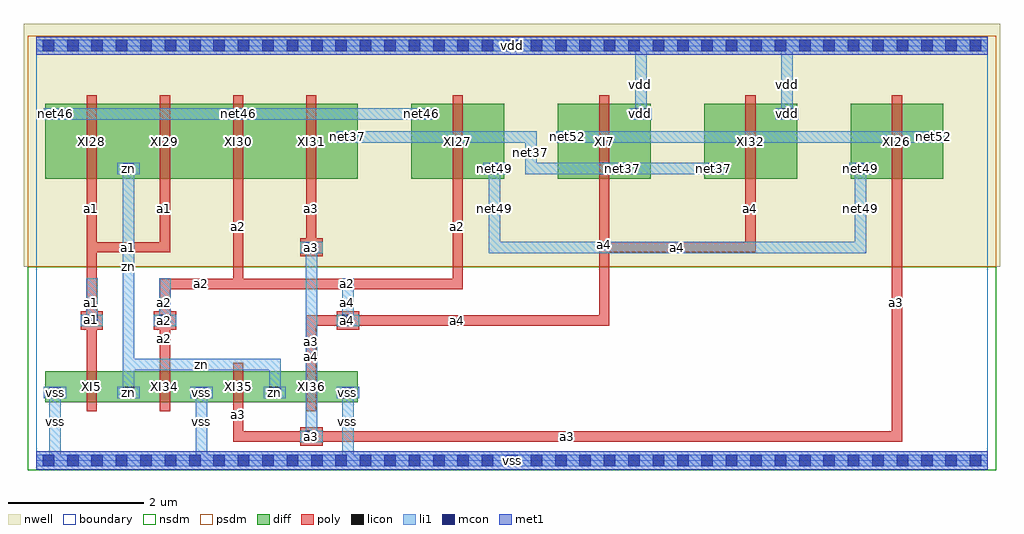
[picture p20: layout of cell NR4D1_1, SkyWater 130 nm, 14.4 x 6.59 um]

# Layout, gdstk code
import gdstk
lib = gdstk.Library(unit=1e-6, precision=1e-09)
def R(c, l, rs):  # rectangles x0, y0, x1, y1
    for r in rs: c.add(gdstk.rectangle(r[:2], r[2:], *l))
def A(c, l, x, y, w, h, nx, ny, dx, dy):  # array of equal rectangles
    R(c, l, [(x+i*dx, y+j*dy, x+i*dx+w, y+j*dy+h) for i in range(nx) for j in range(ny)])
L0_0 = (0, 0)
nwell = (64, 20)
diff = (65, 20)
poly = (66, 20)
licon = (66, 44)
li1 = (67, 20)
mcon = (67, 44)
met1 = (68, 20)
nsdm = (93, 44)
psdm = (94, 20)
boundary = (235, 4)

nr4d1_1 = lib.new_cell('NR4D1_1')
R(nr4d1_1, nwell, [(-0.18,2.86,14.22,6.445)])
A(nr4d1_1, diff, 0.135, 0.86, 1.37, 0.455, 4, 1, 1.08, 0)
A(nr4d1_1, diff, 0.135, 0.86, 0.29, 0.29, 5, 1, 1.08, 0)
A(nr4d1_1, diff, 0.135, 4.16, 1.37, 1.1, 4, 1, 1.08, 0)
A(nr4d1_1, diff, 5.535, 4.16, 1.37, 1.1, 4, 1, 2.16, 0)
R(nr4d1_1, diff, [(1.215,4.16,1.505,4.45), (6.615,4.16,6.905,4.45), (9.855,4.16,10.145,4.45), (12.015,4.16,12.305,4.45), (4.455,4.63,4.745,4.92), (7.695,4.63,7.985,4.92), (13.095,4.63,13.385,4.92), (0.135,4.97,0.425,5.26), (5.535,4.97,5.825,5.26), (8.775,4.97,9.065,5.26), (10.935,4.97,11.225,5.26)])
A(nr4d1_1, poly, 0.745, 0.73, 0.15, 0.715, 4, 1, 1.08, 0)
A(nr4d1_1, poly, 0.745, 4.03, 0.15, 1.36, 4, 1, 1.08, 0)
A(nr4d1_1, poly, 6.145, 4.03, 0.15, 1.36, 4, 1, 2.16, 0)
R(nr4d1_1, poly, [(3.895,0.22,4.225,0.49), (2.905,0.28,3.055,1.08), (2.905,0.28,12.775,0.43), (12.625,0.28,12.775,4.38), (0.745,0.93,0.895,3.22), (1.825,0.93,1.975,2.68), (3.985,0.93,4.135,2.14), (0.655,1.93,0.985,2.2), (1.735,1.93,2.065,2.2), (4.435,1.93,4.765,2.2), (3.985,1.99,8.455,2.14), (8.305,1.99,8.455,4.38), (1.825,2.53,3.055,2.68), (2.905,2.53,3.055,4.38), (2.905,2.53,6.295,2.68), (6.145,2.53,6.295,4.38), (3.895,3.01,4.225,3.28), (0.745,3.07,0.895,4.38), (0.745,3.07,1.975,3.22), (1.825,3.07,1.975,4.38), (3.985,3.07,4.135,4.38), (8.305,3.07,10.615,3.22), (10.465,3.07,10.615,4.38)])
A(nr4d1_1, licon, 0.195, 0.92, 0.17, 0.17, 5, 1, 1.08, 0)
R(nr4d1_1, licon, [(3.975,0.27,4.145,0.44), (0.735,1.98,0.905,2.15), (1.815,1.98,1.985,2.15), (4.515,1.98,4.685,2.15), (3.975,3.06,4.145,3.23), (1.275,4.22,1.445,4.39), (6.675,4.22,6.845,4.39), (9.915,4.22,10.085,4.39), (12.075,4.22,12.245,4.39), (4.515,4.69,4.685,4.86), (7.755,4.69,7.925,4.86), (13.155,4.69,13.325,4.86), (0.195,5.03,0.365,5.2), (5.595,5.03,5.765,5.2), (8.835,5.03,9.005,5.2), (10.995,5.03,11.165,5.2)])
A(nr4d1_1, li1, 0.195, 0.06, 0.17, 1.03, 3, 1, 2.16, 0)
A(nr4d1_1, li1, 0.115, 0.92, 0.33, 0.17, 5, 1, 1.08, 0)
R(nr4d1_1, li1, [(0,-0.085,14.04,0.085), (3.895,0.27,4.225,0.44), (3.975,0.27,4.145,3.23), (1.275,0.92,1.445,1.5), (3.435,0.92,3.605,1.5), (1.275,1.33,3.605,1.5), (1.275,1.33,1.445,4.39), (0.655,1.98,0.985,2.15), (0.735,1.98,0.905,2.69), (1.735,1.98,2.065,2.15), (1.815,1.98,1.985,2.69), (4.435,1.98,4.765,2.15), (4.515,1.98,4.685,2.69), (3.895,3.06,4.225,3.23), (6.675,3.06,6.845,4.39), (6.675,3.06,12.245,3.23), (12.075,3.06,12.245,4.39), (1.195,4.22,1.525,4.39), (6.595,4.22,6.925,4.39), (7.215,4.22,10.085,4.39), (7.215,4.22,7.385,4.86), (9.835,4.22,10.165,4.39), (11.995,4.22,12.325,4.39), (4.435,4.69,4.765,4.86), (4.515,4.69,7.385,4.86), (7.675,4.69,8.005,4.86), (7.755,4.69,13.325,4.86), (13.075,4.69,13.405,4.86), (0.115,5.03,0.445,5.2), (0.195,5.03,5.765,5.2), (5.515,5.03,5.845,5.2), (8.755,5.03,9.085,5.2), (8.835,5.03,9.005,6.06), (10.915,5.03,11.245,5.2), (10.995,5.03,11.165,6.06), (0,6.035,14.04,6.205)])
A(nr4d1_1, mcon, 0.095, -0.085, 0.17, 0.17, 39, 2, 0.36, 6.12)
R(nr4d1_1, met1, [(0,-0.135,14.04,0.135), (0,5.985,14.04,6.255)])
R(nr4d1_1, nsdm, [(-0.125,-0.145,14.165,0.145), (-0.125,0.145,14.165,2.86)])
R(nr4d1_1, psdm, [(-0.125,2.86,14.165,5.975), (-0.125,5.975,14.165,6.265)])
R(nr4d1_1, boundary, [(0,0,14.04,6.12)])
nr4d1_1.add(gdstk.FlexPath([(0.115,0.355),(13.405,0.355)], 0, ends="flush", simple_path=True, layer=0, datatype=0))  # L0_0
nr4d1_1.add(gdstk.FlexPath([(0.115,1.005),(13.405,1.005)], 0, ends="flush", simple_path=True, layer=0, datatype=0))  # L0_0
nr4d1_1.add(gdstk.FlexPath([(0.115,1.415),(13.405,1.415)], 0, ends="flush", simple_path=True, layer=0, datatype=0))  # L0_0
nr4d1_1.add(gdstk.FlexPath([(0.115,2.065),(13.405,2.065)], 0, ends="flush", simple_path=True, layer=0, datatype=0))  # L0_0
nr4d1_1.add(gdstk.FlexPath([(0.115,2.605),(13.405,2.605)], 0, ends="flush", simple_path=True, layer=0, datatype=0))  # L0_0
nr4d1_1.add(gdstk.FlexPath([(0.115,3.145),(13.405,3.145)], 0, ends="flush", simple_path=True, layer=0, datatype=0))  # L0_0
nr4d1_1.add(gdstk.FlexPath([(0.115,4.305),(13.405,4.305)], 0, ends="flush", simple_path=True, layer=0, datatype=0))  # L0_0
nr4d1_1.add(gdstk.FlexPath([(0.115,4.775),(13.405,4.775)], 0, ends="flush", simple_path=True, layer=0, datatype=0))  # L0_0
nr4d1_1.add(gdstk.FlexPath([(0.115,5.115),(13.405,5.115)], 0, ends="flush", simple_path=True, layer=0, datatype=0))  # L0_0
nr4d1_1.add(gdstk.FlexPath([(0.115,5.765),(13.405,5.765)], 0, ends="flush", simple_path=True, layer=0, datatype=0))  # L0_0
nr4d1_1.add(gdstk.FlexPath([(0.28,0.06),(0.28,6.06)], 0, ends="flush", simple_path=True, layer=0, datatype=0))  # L0_0
nr4d1_1.add(gdstk.FlexPath([(0.82,0.06),(0.82,6.06)], 0, ends="flush", simple_path=True, layer=0, datatype=0))  # L0_0
nr4d1_1.add(gdstk.FlexPath([(1.36,0.06),(1.36,6.06)], 0, ends="flush", simple_path=True, layer=0, datatype=0))  # L0_0
nr4d1_1.add(gdstk.FlexPath([(1.9,0.06),(1.9,6.06)], 0, ends="flush", simple_path=True, layer=0, datatype=0))  # L0_0
nr4d1_1.add(gdstk.FlexPath([(2.44,0.06),(2.44,6.06)], 0, ends="flush", simple_path=True, layer=0, datatype=0))  # L0_0
nr4d1_1.add(gdstk.FlexPath([(2.98,0.06),(2.98,6.06)], 0, ends="flush", simple_path=True, layer=0, datatype=0))  # L0_0
nr4d1_1.add(gdstk.FlexPath([(3.52,0.06),(3.52,6.06)], 0, ends="flush", simple_path=True, layer=0, datatype=0))  # L0_0
nr4d1_1.add(gdstk.FlexPath([(4.06,0.06),(4.06,6.06)], 0, ends="flush", simple_path=True, layer=0, datatype=0))  # L0_0
nr4d1_1.add(gdstk.FlexPath([(4.6,0.06),(4.6,6.06)], 0, ends="flush", simple_path=True, layer=0, datatype=0))  # L0_0
nr4d1_1.add(gdstk.FlexPath([(5.14,0.06),(5.14,6.06)], 0, ends="flush", simple_path=True, layer=0, datatype=0))  # L0_0
nr4d1_1.add(gdstk.FlexPath([(5.68,0.06),(5.68,6.06)], 0, ends="flush", simple_path=True, layer=0, datatype=0))  # L0_0
nr4d1_1.add(gdstk.FlexPath([(6.22,0.06),(6.22,6.06)], 0, ends="flush", simple_path=True, layer=0, datatype=0))  # L0_0
nr4d1_1.add(gdstk.FlexPath([(6.76,0.06),(6.76,6.06)], 0, ends="flush", simple_path=True, layer=0, datatype=0))  # L0_0
nr4d1_1.add(gdstk.FlexPath([(7.3,0.06),(7.3,6.06)], 0, ends="flush", simple_path=True, layer=0, datatype=0))  # L0_0
nr4d1_1.add(gdstk.FlexPath([(7.84,0.06),(7.84,6.06)], 0, ends="flush", simple_path=True, layer=0, datatype=0))  # L0_0
nr4d1_1.add(gdstk.FlexPath([(8.38,0.06),(8.38,6.06)], 0, ends="flush", simple_path=True, layer=0, datatype=0))  # L0_0
nr4d1_1.add(gdstk.FlexPath([(8.92,0.06),(8.92,6.06)], 0, ends="flush", simple_path=True, layer=0, datatype=0))  # L0_0
nr4d1_1.add(gdstk.FlexPath([(9.46,0.06),(9.46,6.06)], 0, ends="flush", simple_path=True, layer=0, datatype=0))  # L0_0
nr4d1_1.add(gdstk.FlexPath([(10,0.06),(10,6.06)], 0, ends="flush", simple_path=True, layer=0, datatype=0))  # L0_0
nr4d1_1.add(gdstk.FlexPath([(10.54,0.06),(10.54,6.06)], 0, ends="flush", simple_path=True, layer=0, datatype=0))  # L0_0
nr4d1_1.add(gdstk.FlexPath([(11.08,0.06),(11.08,6.06)], 0, ends="flush", simple_path=True, layer=0, datatype=0))  # L0_0
nr4d1_1.add(gdstk.FlexPath([(11.62,0.06),(11.62,6.06)], 0, ends="flush", simple_path=True, layer=0, datatype=0))  # L0_0
nr4d1_1.add(gdstk.FlexPath([(12.16,0.06),(12.16,6.06)], 0, ends="flush", simple_path=True, layer=0, datatype=0))  # L0_0
nr4d1_1.add(gdstk.FlexPath([(12.7,0.06),(12.7,6.06)], 0, ends="flush", simple_path=True, layer=0, datatype=0))  # L0_0
nr4d1_1.add(gdstk.FlexPath([(13.24,0.06),(13.24,6.06)], 0, ends="flush", simple_path=True, layer=0, datatype=0))  # L0_0
nr4d1_1.add(gdstk.Label('XI36', (4.06,1.088), layer=65, texttype=20))
nr4d1_1.add(gdstk.Label('XI35', (2.98,1.088), layer=65, texttype=20))
nr4d1_1.add(gdstk.Label('XI34', (1.9,1.088), layer=65, texttype=20))
nr4d1_1.add(gdstk.Label('XI5', (0.82,1.088), layer=65, texttype=20))
nr4d1_1.add(gdstk.Label('XI26', (12.7,4.71), layer=65, texttype=20))
nr4d1_1.add(gdstk.Label('XI30', (2.98,4.71), layer=65, texttype=20))
nr4d1_1.add(gdstk.Label('XI31', (4.06,4.71), layer=65, texttype=20))
nr4d1_1.add(gdstk.Label('XI32', (10.54,4.71), layer=65, texttype=20))
nr4d1_1.add(gdstk.Label('XI29', (1.9,4.71), layer=65, texttype=20))
nr4d1_1.add(gdstk.Label('XI7', (8.38,4.71), layer=65, texttype=20))
nr4d1_1.add(gdstk.Label('XI27', (6.22,4.71), layer=65, texttype=20))
nr4d1_1.add(gdstk.Label('XI28', (0.82,4.71), layer=65, texttype=20))
nr4d1_1.add(gdstk.Label('zn', (3.52,1.005), layer=65, texttype=20))
nr4d1_1.add(gdstk.Label('zn', (1.36,1.005), layer=65, texttype=20))
nr4d1_1.add(gdstk.Label('zn', (1.36,4.305), layer=65, texttype=20))
nr4d1_1.add(gdstk.Label('net49', (12.16,4.305), layer=65, texttype=20))
nr4d1_1.add(gdstk.Label('net49', (6.76,4.305), layer=65, texttype=20))
nr4d1_1.add(gdstk.Label('net52', (13.24,4.775), layer=65, texttype=20))
nr4d1_1.add(gdstk.Label('net52', (7.84,4.775), layer=65, texttype=20))
nr4d1_1.add(gdstk.Label('net37', (4.6,4.775), layer=65, texttype=20))
nr4d1_1.add(gdstk.Label('net37', (10,4.305), layer=65, texttype=20))
nr4d1_1.add(gdstk.Label('net46', (5.68,5.115), layer=65, texttype=20))
nr4d1_1.add(gdstk.Label('net46', (0.28,5.115), layer=65, texttype=20))
nr4d1_1.add(gdstk.Label('vss', (4.6,1.005), layer=65, texttype=20))
nr4d1_1.add(gdstk.Label('vss', (2.44,1.005), layer=65, texttype=20))
nr4d1_1.add(gdstk.Label('vss', (0.28,1.005), layer=65, texttype=20))
nr4d1_1.add(gdstk.Label('vdd', (11.08,5.115), layer=65, texttype=20))
nr4d1_1.add(gdstk.Label('vdd', (8.92,5.115), layer=65, texttype=20))
nr4d1_1.add(gdstk.Label('a4', (4.06,1.535), layer=66, texttype=20))
nr4d1_1.add(gdstk.Label('a4', (6.22,2.065), layer=66, texttype=20))
nr4d1_1.add(gdstk.Label('a4', (8.38,3.185), layer=66, texttype=20))
nr4d1_1.add(gdstk.Label('a4', (10.54,3.725), layer=66, texttype=20))
nr4d1_1.add(gdstk.Label('a4', (9.46,3.145), layer=66, texttype=20))
nr4d1_1.add(gdstk.Label('a4', (4.6,2.065), layer=66, texttype=20))
nr4d1_1.add(gdstk.Label('a3', (2.98,0.68), layer=66, texttype=20))
nr4d1_1.add(gdstk.Label('a3', (7.84,0.355), layer=66, texttype=20))
nr4d1_1.add(gdstk.Label('a3', (12.7,2.33), layer=66, texttype=20))
nr4d1_1.add(gdstk.Label('a3', (4.06,0.355), layer=66, texttype=20))
nr4d1_1.add(gdstk.Label('a3', (4.06,3.145), layer=66, texttype=20))
nr4d1_1.add(gdstk.Label('a3', (4.06,3.725), layer=66, texttype=20))
nr4d1_1.add(gdstk.Label('a2', (1.9,1.805), layer=66, texttype=20))
nr4d1_1.add(gdstk.Label('a2', (2.44,2.605), layer=66, texttype=20))
nr4d1_1.add(gdstk.Label('a2', (2.98,3.455), layer=66, texttype=20))
nr4d1_1.add(gdstk.Label('a2', (4.6,2.605), layer=66, texttype=20))
nr4d1_1.add(gdstk.Label('a2', (6.22,3.455), layer=66, texttype=20))
nr4d1_1.add(gdstk.Label('a2', (1.9,2.065), layer=66, texttype=20))
nr4d1_1.add(gdstk.Label('a1', (0.82,2.075), layer=66, texttype=20))
nr4d1_1.add(gdstk.Label('a1', (1.36,3.145), layer=66, texttype=20))
nr4d1_1.add(gdstk.Label('a1', (1.9,3.725), layer=66, texttype=20))
nr4d1_1.add(gdstk.Label('a1', (0.82,3.725), layer=66, texttype=20))
nr4d1_1.add(gdstk.Label('a1', (0.82,2.065), layer=66, texttype=20))
nr4d1_1.add(gdstk.Label('zn', (3.52,1.005), layer=66, texttype=44))
nr4d1_1.add(gdstk.Label('zn', (1.36,1.005), layer=66, texttype=44))
nr4d1_1.add(gdstk.Label('zn', (1.36,4.305), layer=66, texttype=44))
nr4d1_1.add(gdstk.Label('a4', (4.6,2.065), layer=66, texttype=44))
nr4d1_1.add(gdstk.Label('a3', (4.06,0.355), layer=66, texttype=44))
nr4d1_1.add(gdstk.Label('a3', (4.06,3.145), layer=66, texttype=44))
nr4d1_1.add(gdstk.Label('a2', (1.9,2.065), layer=66, texttype=44))
nr4d1_1.add(gdstk.Label('a1', (0.82,2.065), layer=66, texttype=44))
nr4d1_1.add(gdstk.Label('net49', (12.16,4.305), layer=66, texttype=44))
nr4d1_1.add(gdstk.Label('net49', (6.76,4.305), layer=66, texttype=44))
nr4d1_1.add(gdstk.Label('net52', (13.24,4.775), layer=66, texttype=44))
nr4d1_1.add(gdstk.Label('net52', (7.84,4.775), layer=66, texttype=44))
nr4d1_1.add(gdstk.Label('net37', (4.6,4.775), layer=66, texttype=44))
nr4d1_1.add(gdstk.Label('net37', (10,4.305), layer=66, texttype=44))
nr4d1_1.add(gdstk.Label('net46', (5.68,5.115), layer=66, texttype=44))
nr4d1_1.add(gdstk.Label('net46', (0.28,5.115), layer=66, texttype=44))
nr4d1_1.add(gdstk.Label('vss', (4.6,1.005), layer=66, texttype=44))
nr4d1_1.add(gdstk.Label('vss', (2.44,1.005), layer=66, texttype=44))
nr4d1_1.add(gdstk.Label('vss', (0.28,1.005), layer=66, texttype=44))
nr4d1_1.add(gdstk.Label('vdd', (11.08,5.115), layer=66, texttype=44))
nr4d1_1.add(gdstk.Label('vdd', (8.92,5.115), layer=66, texttype=44))
nr4d1_1.add(gdstk.Label('zn', (3.52,1.005), layer=67, texttype=16))
nr4d1_1.add(gdstk.Label('zn', (1.36,1.005), layer=67, texttype=16))
nr4d1_1.add(gdstk.Label('zn', (1.36,4.305), layer=67, texttype=16))
nr4d1_1.add(gdstk.Label('zn', (3.52,1.21), layer=67, texttype=16))
nr4d1_1.add(gdstk.Label('zn', (2.44,1.415), layer=67, texttype=16))
nr4d1_1.add(gdstk.Label('zn', (1.36,2.86), layer=67, texttype=16))
nr4d1_1.add(gdstk.Label('zn', (1.36,1.21), layer=67, texttype=16))
nr4d1_1.add(gdstk.Label('a4', (4.6,2.065), layer=67, texttype=16))
nr4d1_1.add(gdstk.Label('a4', (4.6,2.335), layer=67, texttype=16))
nr4d1_1.add(gdstk.Label('a3', (4.06,0.355), layer=67, texttype=16))
nr4d1_1.add(gdstk.Label('a3', (4.06,1.75), layer=67, texttype=16))
nr4d1_1.add(gdstk.Label('a3', (4.06,3.145), layer=67, texttype=16))
nr4d1_1.add(gdstk.Label('a2', (1.9,2.065), layer=67, texttype=16))
nr4d1_1.add(gdstk.Label('a2', (1.9,2.335), layer=67, texttype=16))
nr4d1_1.add(gdstk.Label('a1', (0.82,2.065), layer=67, texttype=16))
nr4d1_1.add(gdstk.Label('a1', (0.82,2.335), layer=67, texttype=16))
nr4d1_1.add(gdstk.Label('net49', (12.16,4.305), layer=67, texttype=20))
nr4d1_1.add(gdstk.Label('net49', (6.76,4.305), layer=67, texttype=20))
nr4d1_1.add(gdstk.Label('net49', (12.16,3.725), layer=67, texttype=20))
nr4d1_1.add(gdstk.Label('net49', (9.46,3.145), layer=67, texttype=20))
nr4d1_1.add(gdstk.Label('net49', (6.76,3.725), layer=67, texttype=20))
nr4d1_1.add(gdstk.Label('net52', (13.24,4.775), layer=67, texttype=20))
nr4d1_1.add(gdstk.Label('net52', (7.84,4.775), layer=67, texttype=20))
nr4d1_1.add(gdstk.Label('net52', (10.54,4.775), layer=67, texttype=20))
nr4d1_1.add(gdstk.Label('net37', (4.6,4.775), layer=67, texttype=20))
nr4d1_1.add(gdstk.Label('net37', (10,4.305), layer=67, texttype=20))
nr4d1_1.add(gdstk.Label('net37', (5.95,4.775), layer=67, texttype=20))
nr4d1_1.add(gdstk.Label('net37', (7.3,4.54), layer=67, texttype=20))
nr4d1_1.add(gdstk.Label('net37', (8.65,4.305), layer=67, texttype=20))
nr4d1_1.add(gdstk.Label('net46', (5.68,5.115), layer=67, texttype=20))
nr4d1_1.add(gdstk.Label('net46', (0.28,5.115), layer=67, texttype=20))
nr4d1_1.add(gdstk.Label('net46', (2.98,5.115), layer=67, texttype=20))
nr4d1_1.add(gdstk.Label('vss', (4.6,1.005), layer=67, texttype=20))
nr4d1_1.add(gdstk.Label('vss', (4.6,0.575), layer=67, texttype=20))
nr4d1_1.add(gdstk.Label('vss', (2.44,1.005), layer=67, texttype=20))
nr4d1_1.add(gdstk.Label('vss', (2.44,0.575), layer=67, texttype=20))
nr4d1_1.add(gdstk.Label('vss', (0.28,1.005), layer=67, texttype=20))
nr4d1_1.add(gdstk.Label('vss', (0.28,0.575), layer=67, texttype=20))
nr4d1_1.add(gdstk.Label('vdd', (11.08,5.115), layer=67, texttype=20))
nr4d1_1.add(gdstk.Label('vdd', (11.08,5.545), layer=67, texttype=20))
nr4d1_1.add(gdstk.Label('vdd', (8.92,5.115), layer=67, texttype=20))
nr4d1_1.add(gdstk.Label('vdd', (8.92,5.545), layer=67, texttype=20))
nr4d1_1.add(gdstk.Label('vss', (7.02,0), layer=67, texttype=16))
nr4d1_1.add(gdstk.Label('vdd', (7.02,6.12), layer=67, texttype=16))
nr4d1_1.add(gdstk.Label('vss', (7.02,0), layer=68, texttype=16))
nr4d1_1.add(gdstk.Label('vdd', (7.02,6.12), layer=68, texttype=16))

lib.write_gds('NR4D1_1.gds')
